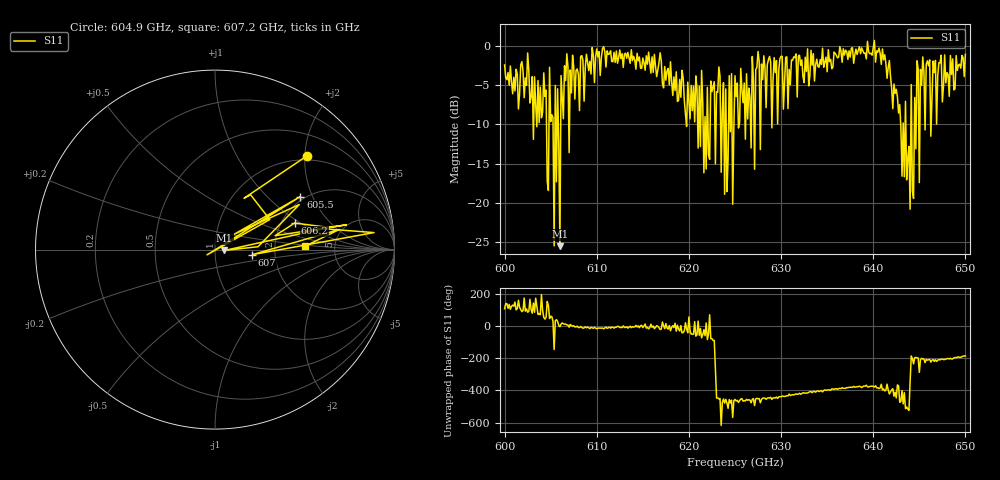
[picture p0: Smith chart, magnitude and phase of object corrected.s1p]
!Created with skrf (http://scikit-rf.org).
# GHz S MA R 50.0
!freq magS11 angS11
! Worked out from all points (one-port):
!   401 points, 600 GHz to 650 GHz, reference 50 ohm
!   lowest |S11| = -25.5 dB at 606 GHz (marker M1), VSWR 1.11, Z = 55.6 - j0.528 ohm
!   |S11| at or under -10 dB: 604.547 GHz to 604.8171 GHz (270.1 MHz wide, 0.0447 % of centre); 605.8318 GHz to 606.0892 GHz (257.4 MHz wide, 0.0425 % of centre); 643.5367 GHz to 644.085 GHz (548.3 MHz wide, 0.0852 % of centre) (the widest 3 of 33)
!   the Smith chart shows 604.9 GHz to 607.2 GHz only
!   S11 on the Smith chart (normalised r, x): 604.9 GHz: 0.91, +2.04; 605.5 GHz: 1.90, +1.63; 606.2 GHz: 2.36, +0.89; 607 GHz: 1.52, -0.09; 607.2 GHz: 3.00, +0.15
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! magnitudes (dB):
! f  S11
! 600 GHz  -2.4
! 604.2 GHz  -3.4
! 604.9 GHz  -2.7
! 605.5 GHz  -5.0
! 606 GHz  -25.5
! 606.2 GHz  -6.6
! 606.4 GHz  -9.3
! 607 GHz  -13.6
! 607.2 GHz  -6.0
! 612.5 GHz  -0.5
! 618.8 GHz  -7.1
! 620.6 GHz  -9.7
! 621.9 GHz  -15.7
! 622.5 GHz  -5.8
! 623.5 GHz  -16.1
! 624 GHz  -5.5
! 625 GHz  -3.8
! 625.8 GHz  -5.6
! 626.9 GHz  -1.4
! 627.5 GHz  -0.7
! 631.2 GHz  -1.8
! 637.5 GHz  -1.4
! 641.1 GHz  -1.8
! 643.8 GHz  -14.3
! 644.1 GHz  -4.9
! 644.6 GHz  -13.1
! 645.6 GHz  -10.7
! 650 GHz  -1.1
